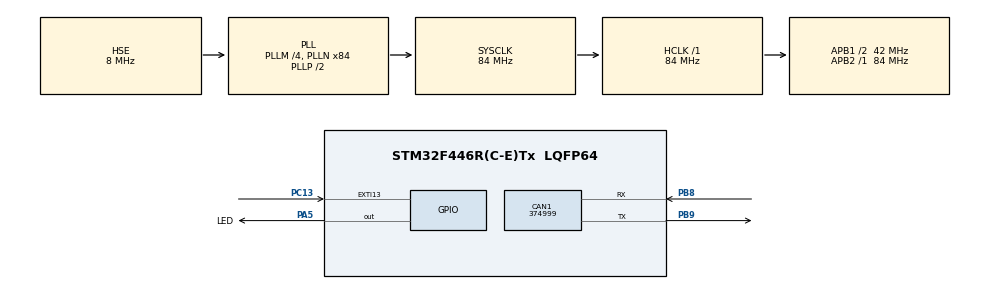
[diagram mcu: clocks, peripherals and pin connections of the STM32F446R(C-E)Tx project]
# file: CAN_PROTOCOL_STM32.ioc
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CAN1.BS1=CAN_BS1_4TQ
CAN1.BS2=CAN_BS2_2TQ
CAN1.CalculateBaudRate=374999
CAN1.CalculateTimeBit=2666
CAN1.CalculateTimeQuantum=380.95238095238096
CAN1.NART=ENABLE
Mcu.Family=STM32F4
Mcu.Name=STM32F446R(C-E)Tx
Mcu.Package=LQFP64
NVIC.CAN1_RX0_IRQn=true\:0\:0\:false\:false\:true\:true\:true\:true
NVIC.CAN1_RX1_IRQn=true\:0\:0\:false\:false\:true\:true\:true\:true
NVIC.CAN1_SCE_IRQn=true\:0\:0\:false\:false\:true\:true\:true\:true
NVIC.CAN1_TX_IRQn=true\:0\:0\:false\:false\:true\:true\:true\:true
NVIC.EXTI15_10_IRQn=true\:0\:0\:false\:false\:true\:true\:true\:true
NVIC.PriorityGroup=NVIC_PRIORITYGROUP_0
PA5.GPIO_Label=LED
PA5.GPIO_PuPd=GPIO_PULLDOWN
PA5.Signal=GPIO_Output
PB8.Mode=CAN_Activate
PB8.Signal=CAN1_RX
PB9.Mode=CAN_Activate
PB9.Signal=CAN1_TX
PC13.GPIO_ModeDefaultEXTI=GPIO_MODE_IT_FALLING
PC13.Signal=GPXTI13
PC14-OSC32_IN.Mode=LSE-External-Oscillator
PC14-OSC32_IN.Signal=RCC_OSC32_IN
PC15-OSC32_OUT.Mode=LSE-External-Oscillator
PC15-OSC32_OUT.Signal=RCC_OSC32_OUT
PH0-OSC_IN.Mode=HSE-External-Oscillator
PH0-OSC_IN.Signal=RCC_OSC_IN
PH1-OSC_OUT.Mode=HSE-External-Oscillator
PH1-OSC_OUT.Signal=RCC_OSC_OUT
ProjectManager.HeapSize=0x200
ProjectManager.StackSize=0x400
ProjectManager.TargetToolchain=STM32CubeIDE
RCC.48MHZClocksFreq_Value=84000000
RCC.AHBFreq_Value=84000000
RCC.APB1CLKDivider=RCC_HCLK_DIV2
RCC.APB1Freq_Value=42000000
RCC.APB1TimFreq_Value=84000000
RCC.APB2Freq_Value=84000000
RCC.APB2TimFreq_Value=84000000
RCC.CortexFreq_Value=84000000
RCC.FLatency-AdvancedSettings=FLASH_LATENCY_2
RCC.HCLKFreq_Value=84000000
RCC.HSE_VALUE=8000000
RCC.HSI_VALUE=16000000
RCC.PLLM=4
RCC.PLLN=84
RCC.PLLSourceVirtual=RCC_PLLSOURCE_HSE
RCC.SYSCLKFreq_VALUE=84000000
RCC.SYSCLKSource=RCC_SYSCLKSOURCE_PLLCLK
RCC.USBFreq_Value=84000000
RCC.VCOOutputFreq_Value=168000000
board=NUCLEO-F446RE

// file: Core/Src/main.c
/* USER CODE BEGIN Header */
/**
  ******************************************************************************
  * @file           : main.c
  * @brief          : Main program body
  ******************************************************************************
  * @attention
  *
  * Copyright (c) 2025 STMicroelectronics.
  * All rights reserved.
  *
  * This software is licensed under terms that can be found in the LICENSE file
  * in the root directory of this software component.
  * If no LICENSE file comes with this software, it is provided AS-IS.
  *
  ******************************************************************************
  */
/* USER CODE END Header */
#include "main.h" //Includes HAL Library functions

/* USER CODE BEGIN Includes */
#include<stdio.h>
#include<string.h>
#include<stdlib.h>
/* USER CODE END Includes */

CAN_HandleTypeDef hcan1; //CAN handle to control CAN1 peripheral

/* USER CODE BEGIN PV */
CAN_FilterTypeDef Scanfilter;//Struct to define CAN filter config
CAN_RxHeaderTypeDef RxHeader; // hold metadeta(ID, DLC) for received messages
CAN_TxHeaderTypeDef TxHeader;//hold metadeta(ID, DLC) for transmitted messages

uint32_t TxMailbox; //buffer for transmission

uint8_t TxData[8];//Stores 1 byte for transmission
uint8_t RxData[8];//For receiving
/* USER CODE END PV */

void SystemClock_Config(void);
static void MX_GPIO_Init(void);
static void MX_CAN1_Init(void);

/* USER CODE BEGIN 0 */
void Decode_CAN_Message(uint8_t *data) {
    // Decode Pack Current (Byte 0 and Byte 1)
    uint16_t packCurrentRaw = (data[0] << 8) | data[1]; // Combine bytes using left shift
    float packCurrent = packCurrentRaw * 0.1;           // Apply scaling factor (resolution: 0.1 A)

    // Decode Average Temperature (Byte 2 and Byte 3)
    uint16_t averageTempRaw = (data[2] << 8) | data[3]; // Combine bytes using left shift
    float averageTemperature = averageTempRaw * 0.1;    // Apply scaling factor (resolution: 0.1 °C)

    // Decode Pack SOC (Byte 4)
    uint8_t packSOC = data[4];                          // Direct value (percentage, no scaling specified)

    // Decode Pack Inst. Voltage (Byte 5 and Byte 6)
    uint16_t packVoltageRaw = (data[5] << 8) | data[6]; // Combine bytes using left shift
    float packVoltage = packVoltageRaw * 0.1;           // Apply scaling factor (resolution: 0.1 V)

    // Decode Max Cell Number (Byte 7)
    uint8_t maxCellNumber = data[7];                    // Direct value (no scaling specified)

    // Print decoded values
    printf("Pack Current: %.1f A\n", packCurrent);
    printf("Average Temperature: %.1f °C\n", averageTemperature);
    printf("Pack SOC: %d %%\n", packSOC);
    printf("Pack Voltage: %.1f V\n", packVoltage);
    printf("Max Cell Number: %d\n", maxCellNumber);
}

/* USER CODE END 0 */

int main(void)
{

  /* MCU Configuration--------------------------------------------------------*/

  /* Reset of all peripherals, Initializes the Flash interface and the Systick. */
  HAL_Init();//Reset peripherals, Flash interface and Systick

  /* Configure the system clock */
  SystemClock_Config();//Configures system clock

  /* Initialize all configured peripherals */
  MX_GPIO_Init();//Initialize GPIO and CAN peripherals
  MX_CAN1_Init();
  /* USER CODE BEGIN 2 */
  HAL_CAN_ActivateNotification(&hcan1, CAN_IT_RX_FIFO0_MSG_PENDING|CAN_IT_RX_FIFO1_MSG_PENDING);//Enables CAN interrups when messages arrive in FIFO1
  /* USER CODE END 2 */

  /* Infinite loop */
  while (1)
  {

    /* USER CODE BEGIN 3 */
	Decode_CAN_Message(RxData);

  }
  /* USER CODE END 3 */
}

void SystemClock_Config(void)
{
  RCC_OscInitTypeDef RCC_OscInitStruct = {0};
  RCC_ClkInitTypeDef RCC_ClkInitStruct = {0};

  /** Configure the main internal regulator output voltage
  */
  __HAL_RCC_PWR_CLK_ENABLE();
  __HAL_PWR_VOLTAGESCALING_CONFIG(PWR_REGULATOR_VOLTAGE_SCALE3);

  /** Initializes the RCC Oscillators according to the specified parameters
  * in the RCC_OscInitTypeDef structure.
  */
  RCC_OscInitStruct.OscillatorType = RCC_OSCILLATORTYPE_HSE;
  RCC_OscInitStruct.HSEState = RCC_HSE_ON;
  RCC_OscInitStruct.PLL.PLLState = RCC_PLL_ON;
  RCC_OscInitStruct.PLL.PLLSource = RCC_PLLSOURCE_HSE;
  RCC_OscInitStruct.PLL.PLLM = 4;
  RCC_OscInitStruct.PLL.PLLN = 84;
  RCC_OscInitStruct.PLL.PLLP = RCC_PLLP_DIV2;
  RCC_OscInitStruct.PLL.PLLQ = 2;
  RCC_OscInitStruct.PLL.PLLR = 2;
  if (HAL_RCC_OscConfig(&RCC_OscInitStruct) != HAL_OK)
  {
    Error_Handler();
  }

  /** Initializes the CPU, AHB and APB buses clocks
  */
  RCC_ClkInitStruct.ClockType = RCC_CLOCKTYPE_HCLK|RCC_CLOCKTYPE_SYSCLK
                              |RCC_CLOCKTYPE_PCLK1|RCC_CLOCKTYPE_PCLK2;
  RCC_ClkInitStruct.SYSCLKSource = RCC_SYSCLKSOURCE_PLLCLK;
  RCC_ClkInitStruct.AHBCLKDivider = RCC_SYSCLK_DIV1;
  RCC_ClkInitStruct.APB1CLKDivider = RCC_HCLK_DIV2;
  RCC_ClkInitStruct.APB2CLKDivider = RCC_HCLK_DIV1;

  if (HAL_RCC_ClockConfig(&RCC_ClkInitStruct, FLASH_LATENCY_2) != HAL_OK)
  {
    Error_Handler();
  }
}

static void MX_CAN1_Init(void)
{

  hcan1.Instance = CAN1;//For mulitple CAN we use hcan2
  hcan1.Init.Prescaler = 16;//Controls CAN bit timing(baud rate).
  hcan1.Init.Mode = CAN_MODE_NORMAL;//Open declaration to see info about multiple modes
  hcan1.Init.SyncJumpWidth = CAN_SJW_1TQ;//detects timing error
  hcan1.Init.TimeSeg1 = CAN_BS1_4TQ;//Synchronizes nodes-> how long the data bits are sampled
  hcan1.Init.TimeSeg2 = CAN_BS2_2TQ;//Defines post-sampling timing handle phase errors
  hcan1.Init.TimeTriggeredMode = DISABLE;//Check if BMS and MC expects timestamps
  hcan1.Init.AutoBusOff = DISABLE;//If enabled, the MCU auto. retries after a cool-down period
  hcan1.Init.AutoWakeUp = DISABLE;// For power saving, get's enabled only if CAN-traffic is incoming
  hcan1.Init.AutoRetransmission = ENABLE;// Auto. retries failed transmission
  hcan1.Init.ReceiveFifoLocked = DISABLE;// Blocks new messages when FIFO is full. Must be disabled to refresh data if BMS sends data fast
  hcan1.Init.TransmitFifoPriority = DISABLE;// If enabled smaller IDs transmit first..
  if (HAL_CAN_Init(&hcan1) != HAL_OK)
  {
    Error_Handler();
  }
  /* USER CODE BEGIN CAN1_Init 2 */
  RxHeader.IDE=CAN_ID_EXT;
  RxHeader.ExtId=0x10000010;
  RxHeader.RTR=CAN_RTR_DATA;
  RxHeader.DLC=8;

Scanfilter.FilterActivation=CAN_FILTER_ENABLE;
Scanfilter.FilterBank=0;//Each filter holds one or more filter banks
Scanfilter.FilterFIFOAssignment=CAN_FILTER_FIFO0;//Incoming messages go to FIFO0. Stm32 has 2 FIFO lines with FIFO0 having higher priority.
Scanfilter.FilterIdHigh = (0x10000010 >> 13) & 0xFFFF;
Scanfilter.FilterIdLow = ((0x10000010 << 3) & 0xFFFF) | (1 << 2); // Set IDE bit//Stays 0 for standard IDs but for 29 bits both high and low hold the ID together
Scanfilter.FilterMaskIdHigh=0xFFFF;;//Specifies which ID to accept(ID must match entirely)
Scanfilter.FilterMaskIdLow=0xFFFF;//Ignores the low part entirely
Scanfilter.FilterMode=CAN_FILTERMODE_IDMASK;//Better  for ranges
Scanfilter.FilterScale=CAN_FILTERSCALE_32BIT;//Better for specific IDs
Scanfilter.SlaveStartFilterBank=14;//defines where CAN2 filter 2 start

if(HAL_CAN_ConfigFilter(&hcan1, &Scanfilter)!=HAL_OK){//To process only relevant messages
	Error_Handler();
}
if(HAL_CAN_Start(&hcan1)!=HAL_OK){
	Error_Handler();
}

  /* USER CODE END CAN1_Init 2 */

}

static void MX_GPIO_Init(void)//
{
  GPIO_InitTypeDef GPIO_InitStruct = {0};

  /* GPIO Ports Clock Enable */
  __HAL_RCC_GPIOC_CLK_ENABLE();
  __HAL_RCC_GPIOH_CLK_ENABLE();
  __HAL_RCC_GPIOA_CLK_ENABLE();
  __HAL_RCC_GPIOB_CLK_ENABLE();

  /*Configure GPIO pin Output Level */
  HAL_GPIO_WritePin(LED_GPIO_Port, LED_Pin, GPIO_PIN_RESET);//This set according to the configuration done in the IOC file.

  /*Configure GPIO pin : PC13 */
  GPIO_InitStruct.Pin = GPIO_PIN_13;
  GPIO_InitStruct.Mode = GPIO_MODE_IT_FALLING;
  GPIO_InitStruct.Pull = GPIO_NOPULL;
  HAL_GPIO_Init(GPIOC, &GPIO_InitStruct);

  /*Configure GPIO pin : LED_Pin */
  GPIO_InitStruct.Pin = LED_Pin;
  GPIO_InitStruct.Mode = GPIO_MODE_OUTPUT_PP;
  GPIO_InitStruct.Pull = GPIO_PULLDOWN;
  GPIO_InitStruct.Speed = GPIO_SPEED_FREQ_LOW;
  HAL_GPIO_Init(LED_GPIO_Port, &GPIO_InitStruct);

  /* EXTI interrupt init*/
  HAL_NVIC_SetPriority(EXTI15_10_IRQn, 0, 0);
  HAL_NVIC_EnableIRQ(EXTI15_10_IRQn);

}

/* USER CODE BEGIN 4 */
// When the Rx of MC detects that the message is coming in the RXFIFO0
void HAL_CAN_RxFifo0MsgPendingCallback(CAN_HandleTypeDef *hcan)
{
	HAL_CAN_GetRxMessage(&hcan1, CAN_RX_FIFO0,&RxHeader, RxData);
}
/* USER CODE END 4 */

void Error_Handler(void)
{
  __disable_irq();
  while (1)
  {
  }
}
